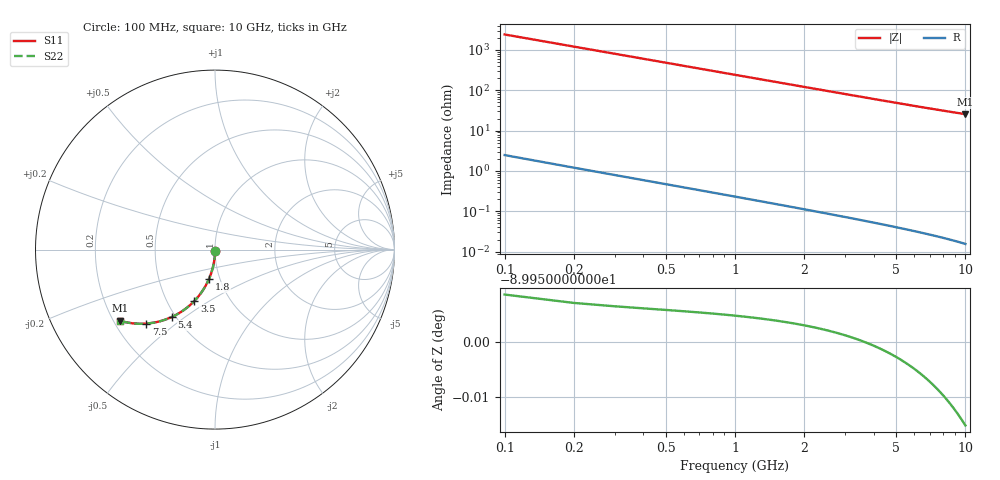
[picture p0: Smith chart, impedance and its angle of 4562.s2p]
# Hz S RI R 50.00
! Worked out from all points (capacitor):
!   100 points, 100 MHz to 10 GHz, reference 50 ohm
!   read as one part in shunt: C = 657 fF near 100 MHz
!   lowest |Z| = 25.7 ohm at 10 GHz (marker M1)
!   S11 on the Smith chart (normalised r, x): 100 MHz: 1.00, -0.02; 1.8 GHz: 0.89, -0.30; 3.5 GHz: 0.68, -0.43; 5.4 GHz: 0.48, -0.45; 7.5 GHz: 0.33, -0.40; 10 GHz: 0.23, -0.32
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1e8  0.000244 -0.00934  0.9995 -0.0113  0.9995 -0.0113  0.000244 -0.00934
2e8  -8.04e-05 -0.0187  0.9992 -0.0226  0.9992 -0.0226  -8.04e-05 -0.0187
3e8  -0.000616 -0.028  0.9986 -0.0339  0.9986 -0.0339  -0.000616 -0.028
4e8  -0.00136 -0.0373  0.9979 -0.0451  0.9979 -0.0451  -0.00136 -0.0373
5e8  -0.00232 -0.0466  0.9969 -0.0563  0.9969 -0.0563  -0.00232 -0.0466
6e8  -0.00348 -0.0558  0.9957 -0.0675  0.9957 -0.0675  -0.00348 -0.0558
8e8  -0.00643 -0.0742  0.9927 -0.0898  0.9927 -0.0898  -0.00643 -0.0742
1.1e9  -0.0124 -0.1014  0.9867 -0.1229  0.9867 -0.1229  -0.0124 -0.1014
1.4e9  -0.0201 -0.128  0.9788 -0.1553  0.9788 -0.1553  -0.0201 -0.128
1.8e9  -0.033 -0.1623  0.9656 -0.1975  0.9656 -0.1975  -0.033 -0.1623
2.1e9  -0.0445 -0.1869  0.9539 -0.228  0.9539 -0.228  -0.0445 -0.1869
2.5e9  -0.0621 -0.2182  0.9359 -0.2671  0.9359 -0.2671  -0.0621 -0.2182
2.9e9  -0.082 -0.2473  0.9156 -0.3041  0.9156 -0.3041  -0.082 -0.2473
3.4e9  -0.1097 -0.2805  0.8873 -0.3472  0.8873 -0.3472  -0.1097 -0.2805
3.5e9  -0.1156 -0.2867  0.8813 -0.3554  0.8813 -0.3554  -0.1156 -0.2867
4.3e9  -0.1655 -0.3308  0.8301 -0.4153  0.8301 -0.4153  -0.1655 -0.3308
5.1e9  -0.2191 -0.3648  0.775 -0.4654  0.775 -0.4654  -0.2191 -0.3648
5.4e9  -0.2397 -0.375  0.7538 -0.4816  0.7538 -0.4816  -0.2397 -0.375
6.7e9  -0.3289 -0.4045  0.6613 -0.5376  0.6613 -0.5376  -0.3289 -0.4045
7.5e9  -0.382 -0.412  0.6059 -0.5615  0.6059 -0.5615  -0.382 -0.412
8.4e9  -0.4386 -0.4123  0.5463 -0.5807  0.5463 -0.5807  -0.4386 -0.4123
1e10  -0.5285 -0.3966  0.4498 -0.5991  0.4498 -0.5991  -0.5285 -0.3966
